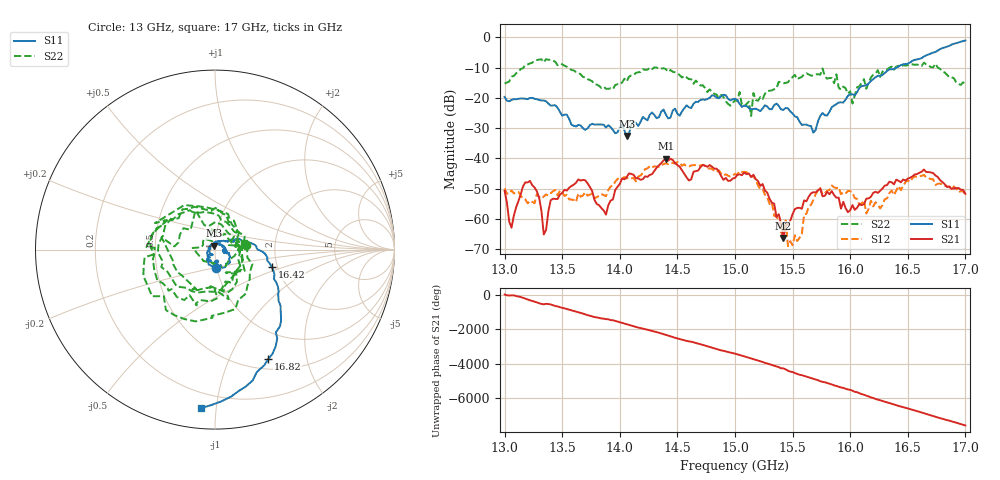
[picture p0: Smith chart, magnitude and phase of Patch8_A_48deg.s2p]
!Keysight Technologies,P9374A,MY57211810,A.19.30.04
!Date: Friday, May 09, 2025 09:22:28
!Correction: S11(Cdelta 2-Port  )
!S21(Cdelta 2-Port  )
!S12(Cdelta 2-Port  )
!S22(Cdelta 2-Port  )
!S2P File: Measurements: S11, S21, S12, S22:
# Hz S  dB  R 50
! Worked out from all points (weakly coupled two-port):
!   201 points, 13 GHz to 17 GHz, reference 50 ohm
!   highest |S21| = -40.09 dB at 14.4 GHz (marker M1); lowest = -66.3 dB at 15.42 GHz (marker M2)
!   lowest |S11| = -32.6 dB at 14.06 GHz (marker M3), VSWR 1.05, Z = 49.3 + j2.21 ohm
!   |S11| at or under -10 dB: start of sweep to 16.4 GHz
!   |S22| runs from -26.0 to -7.2 dB; largest |S21 - S12| = 0.0038
!   S11 on the Smith chart (normalised r, x): 13 GHz: 0.99, -0.21; 16.42 GHz: 1.87, -0.41; 16.82 GHz: 0.62, -1.41; 17 GHz: 0.11, -0.91
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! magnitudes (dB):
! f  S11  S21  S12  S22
! 13 GHz  -19.7  -50.7  -49.9  -15.3
! 13.06 GHz  -20.7  -62.9  -50.6  -13.0
! 13.22 GHz  -20.0  -47.4  -54.0  -8.6
! 13.3 GHz  -20.7  -53.0  -52.7  -7.3
! 13.34 GHz  -20.8  -65.1  -52.6  -8.3
! 13.4 GHz  -22.6  -53.8  -51.5  -7.4
! 13.68 GHz  -30.0  -47.1  -52.3  -13.1
! 13.88 GHz  -29.8  -58.6  -52.5  -17.0
! 14.06 GHz  -32.6  -46.2  -46.6  -14.6
! 14.34 GHz  -26.4  -42.3  -42.8  -10.5
! 14.4 GHz  -25.5  -40.1  -41.6  -10.5
! 15 GHz  -20.3  -46.4  -45.2  -20.8
! 15.24 GHz  -23.5  -48.5  -50.2  -20.4
! 15.42 GHz  -23.9  -66.3  -65.8  -15.2
! 15.54 GHz  -26.4  -56.4  -67.3  -13.9
! 15.68 GHz  -31.5  -51.2  -53.8  -12.6
! 16.02 GHz  -18.8  -55.4  -51.4  -21.9
! 16.14 GHz  -15.8  -53.3  -58.2  -17.0
! 16.34 GHz  -10.6  -47.7  -51.5  -10.1
! 16.42 GHz  -9.6  -47.4  -49.1  -9.4
! 16.82 GHz  -3.4  -48.5  -49.0  -11.6
! 17 GHz  -1.0  -51.7  -51.9  -15.6
